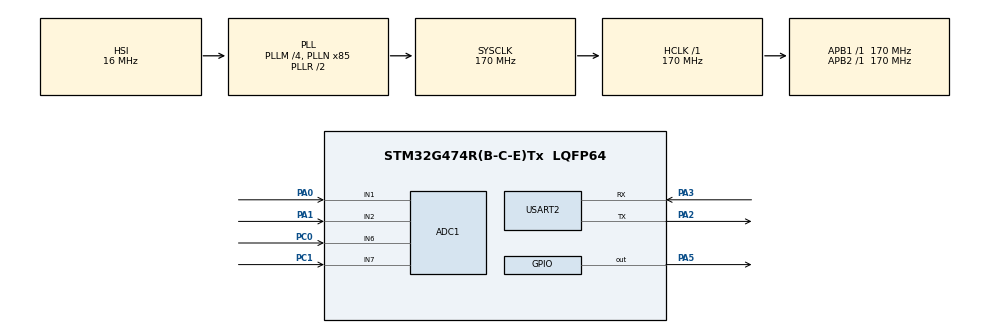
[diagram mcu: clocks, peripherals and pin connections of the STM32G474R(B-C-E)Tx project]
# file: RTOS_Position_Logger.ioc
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ADC1.Channel-0\#ChannelRegularConversion=ADC_CHANNEL_1
ADC1.Channel-1\#ChannelRegularConversion=ADC_CHANNEL_2
ADC1.Channel-2\#ChannelRegularConversion=ADC_CHANNEL_6
ADC1.Channel-3\#ChannelRegularConversion=ADC_CHANNEL_7
ADC1.ContinuousConvMode=DISABLE
ADC1.DMAContinuousRequests=ENABLE
ADC1.EOCSelection=ADC_EOC_SEQ_CONV
ADC1.ExternalTrigConv=ADC_EXTERNALTRIG_T6_TRGO
ADC1.NbrOfConversion=4
ADC1.NbrOfConversionFlag=1
ADC1.OffsetNumber-0\#ChannelRegularConversion=ADC_OFFSET_NONE
ADC1.OffsetNumber-1\#ChannelRegularConversion=ADC_OFFSET_NONE
ADC1.OffsetNumber-2\#ChannelRegularConversion=ADC_OFFSET_NONE
ADC1.OffsetNumber-3\#ChannelRegularConversion=ADC_OFFSET_NONE
ADC1.Rank-0\#ChannelRegularConversion=1
ADC1.Rank-1\#ChannelRegularConversion=2
ADC1.Rank-2\#ChannelRegularConversion=3
ADC1.Rank-3\#ChannelRegularConversion=4
ADC1.SamplingTime-0\#ChannelRegularConversion=ADC_SAMPLETIME_47CYCLES_5
ADC1.SamplingTime-1\#ChannelRegularConversion=ADC_SAMPLETIME_47CYCLES_5
ADC1.SamplingTime-2\#ChannelRegularConversion=ADC_SAMPLETIME_47CYCLES_5
ADC1.SamplingTime-3\#ChannelRegularConversion=ADC_SAMPLETIME_47CYCLES_5
ADC1.master=1
Dma.ADC1.0.Direction=DMA_PERIPH_TO_MEMORY
Dma.ADC1.0.EventEnable=DISABLE
Dma.ADC1.0.Instance=DMA1_Channel1
Dma.ADC1.0.MemDataAlignment=DMA_MDATAALIGN_HALFWORD
Dma.ADC1.0.MemInc=DMA_MINC_ENABLE
Dma.ADC1.0.Mode=DMA_CIRCULAR
Dma.ADC1.0.PeriphDataAlignment=DMA_PDATAALIGN_HALFWORD
Dma.ADC1.0.PeriphInc=DMA_PINC_DISABLE
Dma.ADC1.0.Polarity=HAL_DMAMUX_REQ_GEN_RISING
Dma.ADC1.0.Priority=DMA_PRIORITY_HIGH
Dma.ADC1.0.RequestNumber=1
Dma.ADC1.0.SignalID=NONE
Dma.ADC1.0.SyncEnable=DISABLE
Dma.ADC1.0.SyncPolarity=HAL_DMAMUX_SYNC_NO_EVENT
Dma.ADC1.0.SyncRequestNumber=1
Dma.ADC1.0.SyncSignalID=NONE
Dma.Request0=ADC1
FREERTOS.BinarySemaphores01=adcBinarySem,Dynamic,NULL,Depleted
FREERTOS.Mutexes01=uartMutex,Dynamic,NULL,Available
FREERTOS.Queues01=angleQueue,8,float,0,Dynamic,NULL,NULL
FREERTOS.Tasks01=ProcessingTask,24,768,StartProcessingTask,Default,NULL,Dynamic,NULL,NULL;LoggerTask,8,512,StartLoggerTask,Default,NULL,Dynamic,NULL,NULL;LEDTask,8,128,StartLEDTask,Default,NULL,Dynamic,NULL,NULL
FREERTOS.configTOTAL_HEAP_SIZE=16384
Mcu.Family=STM32G4
Mcu.Name=STM32G474R(B-C-E)Tx
Mcu.Package=LQFP64
NVIC.DMA1_Channel1_IRQn=true\:5\:0\:false\:false\:true\:true\:false\:true\:true
NVIC.PriorityGroup=NVIC_PRIORITYGROUP_4
NVIC.TIM4_IRQn=true\:15\:0\:false\:false\:true\:false\:false\:true\:true
NVIC.TimeBase=TIM4_IRQn
NVIC.TimeBaseIP=TIM4
NVIC.USART2_IRQn=true\:5\:0\:false\:false\:true\:true\:true\:true\:true
PA0.Mode=IN1-Single-Ended
PA0.Signal=ADC1_IN1
PA1.Mode=IN2-Single-Ended
PA1.Signal=ADC1_IN2
PA13.Mode=Serial_Wire
PA13.Signal=SYS_JTMS-SWDIO
PA14.Mode=Serial_Wire
PA14.Signal=SYS_JTCK-SWCLK
PA2.Mode=Asynchronous
PA2.Signal=USART2_TX
PA3.Mode=Asynchronous
PA3.Signal=USART2_RX
PA5.Signal=GPIO_Output
PC0.Mode=IN6-Single-Ended
PC0.Signal=ADC1_IN6
PC1.Mode=IN7-Single-Ended
PC1.Signal=ADC1_IN7
ProjectManager.HeapSize=0x200
ProjectManager.StackSize=0x400
ProjectManager.TargetToolchain=STM32CubeIDE
RCC.ADC12Freq_Value=170000000
RCC.ADC345Freq_Value=170000000
RCC.AHBFreq_Value=170000000
RCC.APB1Freq_Value=170000000
RCC.APB1TimFreq_Value=170000000
RCC.APB2Freq_Value=170000000
RCC.APB2TimFreq_Value=170000000
RCC.CortexFreq_Value=170000000
RCC.EXTERNAL_CLOCK_VALUE=12288000
RCC.HCLKFreq_Value=170000000
RCC.HSE_VALUE=24000000
RCC.HSI48_VALUE=48000000
RCC.HSI_VALUE=16000000
RCC.LSE_VALUE=32768
RCC.PLLM=RCC_PLLM_DIV4
RCC.PLLN=85
RCC.RTCClockSelection=RCC_RTCCLKSOURCE_LSE
RCC.SYSCLKFreq_VALUE=170000000
RCC.SYSCLKSource=RCC_SYSCLKSOURCE_PLLCLK
RCC.USBFreq_Value=170000000
RCC.VCOOutputFreq_Value=340000000
TIM6.PeriodNoDither=999
TIM6.Prescaler=169
TIM6.TIM_MasterOutputTrigger=TIM_TRGO_UPDATE
USART2.VirtualMode-Asynchronous=VM_ASYNC
VP_FREERTOS_VS_CMSIS_V2.Mode=CMSIS_V2
VP_SYS_VS_DBSignals.Mode=DisableDeadBatterySignals
VP_SYS_VS_tim4.Mode=TIM4
VP_TIM6_VS_ClockSourceINT.Mode=Enable_Timer
board=NUCLEO-G474RE

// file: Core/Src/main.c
/* USER CODE BEGIN Header */
/**
  ******************************************************************************
  * @file           : main.c
  * @brief          : Main program body
  ******************************************************************************
  * @attention
  *
  * Copyright (c) 2026 STMicroelectronics.
  * All rights reserved.
  *
  * This software is licensed under terms that can be found in the LICENSE file
  * in the root directory of this software component.
  * If no LICENSE file comes with this software, it is provided AS-IS.
  *
  ******************************************************************************
  */
/* USER CODE END Header */
#include "main.h"
#include "cmsis_os.h"

/* USER CODE BEGIN Includes */
#include "semphr.h"
#include <stdio.h>
#include <math.h>
#include <string.h>
/* USER CODE END Includes */

ADC_HandleTypeDef hadc1;
DMA_HandleTypeDef hdma_adc1;

TIM_HandleTypeDef htim6;

UART_HandleTypeDef huart2;

/* Definitions for ProcessingTask */
osThreadId_t ProcessingTaskHandle;
const osThreadAttr_t ProcessingTask_attributes = {
  .name = "ProcessingTask",
  .priority = (osPriority_t) osPriorityNormal,
  .stack_size = 768 * 4
};
/* Definitions for LoggerTask */
osThreadId_t LoggerTaskHandle;
const osThreadAttr_t LoggerTask_attributes = {
  .name = "LoggerTask",
  .priority = (osPriority_t) osPriorityLow,
  .stack_size = 512 * 4
};
/* Definitions for LEDTask */
osThreadId_t LEDTaskHandle;
const osThreadAttr_t LEDTask_attributes = {
  .name = "LEDTask",
  .priority = (osPriority_t) osPriorityLow,
  .stack_size = 128 * 4
};
/* Definitions for angleQueue */
osMessageQueueId_t angleQueueHandle;
const osMessageQueueAttr_t angleQueue_attributes = {
  .name = "angleQueue"
};
/* Definitions for uartMutex */
osMutexId_t uartMutexHandle;
const osMutexAttr_t uartMutex_attributes = {
  .name = "uartMutex"
};
/* Definitions for adcBinarySem */
osSemaphoreId_t adcBinarySemHandle;
const osSemaphoreAttr_t adcBinarySem_attributes = {
  .name = "adcBinarySem"
};
/* USER CODE BEGIN PV */
uint16_t adc_buffer[4];
char uart_buffer[100];
float filtered_angle = 0;
/* USER CODE END PV */

void SystemClock_Config(void);
static void MX_GPIO_Init(void);
static void MX_DMA_Init(void);
static void MX_ADC1_Init(void);
static void MX_TIM6_Init(void);
static void MX_USART2_UART_Init(void);
void StartProcessingTask(void *argument);
void StartLoggerTask(void *argument);
void StartLEDTask(void *argument);

/* USER CODE BEGIN 0 */
int __io_putchar(int ch)
{
    HAL_UART_Transmit(&huart2, (uint8_t *)&ch, 1, HAL_MAX_DELAY);
    return ch;
}
/* USER CODE END 0 */

int main(void)
{

  /* MCU Configuration--------------------------------------------------------*/

  /* Reset of all peripherals, Initializes the Flash interface and the Systick. */
  HAL_Init();

  /* Configure the system clock */
  SystemClock_Config();

  /* Initialize all configured peripherals */
  MX_GPIO_Init();
  MX_DMA_Init();
  MX_ADC1_Init();
  MX_TIM6_Init();
  MX_USART2_UART_Init();
  /* USER CODE BEGIN 2 */
  HAL_TIM_Base_Start(&htim6);

  HAL_ADC_Start_DMA(&hadc1, (uint32_t*)adc_buffer, 4);
  /* USER CODE END 2 */

  /* Init scheduler */
  osKernelInitialize();
  /* Create the mutex(es) */
  /* creation of uartMutex */
  uartMutexHandle = osMutexNew(&uartMutex_attributes);

  /* Create the semaphores(s) */
  /* creation of adcBinarySem */
  adcBinarySemHandle = osSemaphoreNew(1, 0, &adcBinarySem_attributes);

  /* Create the queue(s) */
  /* creation of angleQueue */
  angleQueueHandle = osMessageQueueNew (8, sizeof(float), &angleQueue_attributes);

  /* Create the thread(s) */
  /* creation of ProcessingTask */
  ProcessingTaskHandle = osThreadNew(StartProcessingTask, NULL, &ProcessingTask_attributes);

  /* creation of LoggerTask */
  LoggerTaskHandle = osThreadNew(StartLoggerTask, NULL, &LoggerTask_attributes);

  /* creation of LEDTask */
  LEDTaskHandle = osThreadNew(StartLEDTask, NULL, &LEDTask_attributes);

  /* Start scheduler */
  osKernelStart();

  /* We should never get here as control is now taken by the scheduler */

  /* Infinite loop */
  while (1)
  {

  }
}

void SystemClock_Config(void)
{
  RCC_OscInitTypeDef RCC_OscInitStruct = {0};
  RCC_ClkInitTypeDef RCC_ClkInitStruct = {0};

  /** Configure the main internal regulator output voltage
  */
  HAL_PWREx_ControlVoltageScaling(PWR_REGULATOR_VOLTAGE_SCALE1_BOOST);

  /** Initializes the RCC Oscillators according to the specified parameters
  * in the RCC_OscInitTypeDef structure.
  */
  RCC_OscInitStruct.OscillatorType = RCC_OSCILLATORTYPE_HSI;
  RCC_OscInitStruct.HSIState = RCC_HSI_ON;
  RCC_OscInitStruct.HSICalibrationValue = RCC_HSICALIBRATION_DEFAULT;
  RCC_OscInitStruct.PLL.PLLState = RCC_PLL_ON;
  RCC_OscInitStruct.PLL.PLLSource = RCC_PLLSOURCE_HSI;
  RCC_OscInitStruct.PLL.PLLM = RCC_PLLM_DIV4;
  RCC_OscInitStruct.PLL.PLLN = 85;
  RCC_OscInitStruct.PLL.PLLP = RCC_PLLP_DIV2;
  RCC_OscInitStruct.PLL.PLLQ = RCC_PLLQ_DIV2;
  RCC_OscInitStruct.PLL.PLLR = RCC_PLLR_DIV2;
  if (HAL_RCC_OscConfig(&RCC_OscInitStruct) != HAL_OK)
  {
    Error_Handler();
  }

  /** Initializes the CPU, AHB and APB buses clocks
  */
  RCC_ClkInitStruct.ClockType = RCC_CLOCKTYPE_HCLK|RCC_CLOCKTYPE_SYSCLK
                              |RCC_CLOCKTYPE_PCLK1|RCC_CLOCKTYPE_PCLK2;
  RCC_ClkInitStruct.SYSCLKSource = RCC_SYSCLKSOURCE_PLLCLK;
  RCC_ClkInitStruct.AHBCLKDivider = RCC_SYSCLK_DIV1;
  RCC_ClkInitStruct.APB1CLKDivider = RCC_HCLK_DIV1;
  RCC_ClkInitStruct.APB2CLKDivider = RCC_HCLK_DIV1;

  if (HAL_RCC_ClockConfig(&RCC_ClkInitStruct, FLASH_LATENCY_4) != HAL_OK)
  {
    Error_Handler();
  }
}

static void MX_ADC1_Init(void)
{

  ADC_MultiModeTypeDef multimode = {0};
  ADC_ChannelConfTypeDef sConfig = {0};

  /** Common config
  */
  hadc1.Instance = ADC1;
  hadc1.Init.ClockPrescaler = ADC_CLOCK_SYNC_PCLK_DIV4;
  hadc1.Init.Resolution = ADC_RESOLUTION_12B;
  hadc1.Init.DataAlign = ADC_DATAALIGN_RIGHT;
  hadc1.Init.GainCompensation = 0;
  hadc1.Init.ScanConvMode = ADC_SCAN_ENABLE;
  hadc1.Init.EOCSelection = ADC_EOC_SEQ_CONV;
  hadc1.Init.LowPowerAutoWait = DISABLE;
  hadc1.Init.ContinuousConvMode = DISABLE;
  hadc1.Init.NbrOfConversion = 4;
  hadc1.Init.DiscontinuousConvMode = DISABLE;
  hadc1.Init.ExternalTrigConv = ADC_EXTERNALTRIG_T6_TRGO;
  hadc1.Init.ExternalTrigConvEdge = ADC_EXTERNALTRIGCONVEDGE_RISING;
  hadc1.Init.DMAContinuousRequests = ENABLE;
  hadc1.Init.Overrun = ADC_OVR_DATA_PRESERVED;
  hadc1.Init.OversamplingMode = DISABLE;
  if (HAL_ADC_Init(&hadc1) != HAL_OK)
  {
    Error_Handler();
  }

  /** Configure the ADC multi-mode
  */
  multimode.Mode = ADC_MODE_INDEPENDENT;
  if (HAL_ADCEx_MultiModeConfigChannel(&hadc1, &multimode) != HAL_OK)
  {
    Error_Handler();
  }

  /** Configure Regular Channel
  */
  sConfig.Channel = ADC_CHANNEL_1;
  sConfig.Rank = ADC_REGULAR_RANK_1;
  sConfig.SamplingTime = ADC_SAMPLETIME_47CYCLES_5;
  sConfig.SingleDiff = ADC_SINGLE_ENDED;
  sConfig.OffsetNumber = ADC_OFFSET_NONE;
  sConfig.Offset = 0;
  if (HAL_ADC_ConfigChannel(&hadc1, &sConfig) != HAL_OK)
  {
    Error_Handler();
  }

  /** Configure Regular Channel
  */
  sConfig.Channel = ADC_CHANNEL_2;
  sConfig.Rank = ADC_REGULAR_RANK_2;
  if (HAL_ADC_ConfigChannel(&hadc1, &sConfig) != HAL_OK)
  {
    Error_Handler();
  }

  /** Configure Regular Channel
  */
  sConfig.Channel = ADC_CHANNEL_6;
  sConfig.Rank = ADC_REGULAR_RANK_3;
  if (HAL_ADC_ConfigChannel(&hadc1, &sConfig) != HAL_OK)
  {
    Error_Handler();
  }

  /** Configure Regular Channel
  */
  sConfig.Channel = ADC_CHANNEL_7;
  sConfig.Rank = ADC_REGULAR_RANK_4;
  if (HAL_ADC_ConfigChannel(&hadc1, &sConfig) != HAL_OK)
  {
    Error_Handler();
  }

}

static void MX_TIM6_Init(void)
{

  TIM_MasterConfigTypeDef sMasterConfig = {0};

  htim6.Instance = TIM6;
  htim6.Init.Prescaler = 169;
  htim6.Init.CounterMode = TIM_COUNTERMODE_UP;
  htim6.Init.Period = 999;
  htim6.Init.AutoReloadPreload = TIM_AUTORELOAD_PRELOAD_DISABLE;
  if (HAL_TIM_Base_Init(&htim6) != HAL_OK)
  {
    Error_Handler();
  }
  sMasterConfig.MasterOutputTrigger = TIM_TRGO_UPDATE;
  sMasterConfig.MasterSlaveMode = TIM_MASTERSLAVEMODE_DISABLE;
  if (HAL_TIMEx_MasterConfigSynchronization(&htim6, &sMasterConfig) != HAL_OK)
  {
    Error_Handler();
  }

}

static void MX_USART2_UART_Init(void)
{

  huart2.Instance = USART2;
  huart2.Init.BaudRate = 115200;
  huart2.Init.WordLength = UART_WORDLENGTH_8B;
  huart2.Init.StopBits = UART_STOPBITS_1;
  huart2.Init.Parity = UART_PARITY_NONE;
  huart2.Init.Mode = UART_MODE_TX_RX;
  huart2.Init.HwFlowCtl = UART_HWCONTROL_NONE;
  huart2.Init.OverSampling = UART_OVERSAMPLING_16;
  huart2.Init.OneBitSampling = UART_ONE_BIT_SAMPLE_DISABLE;
  huart2.Init.ClockPrescaler = UART_PRESCALER_DIV1;
  huart2.AdvancedInit.AdvFeatureInit = UART_ADVFEATURE_NO_INIT;
  if (HAL_UART_Init(&huart2) != HAL_OK)
  {
    Error_Handler();
  }
  if (HAL_UARTEx_SetTxFifoThreshold(&huart2, UART_TXFIFO_THRESHOLD_1_8) != HAL_OK)
  {
    Error_Handler();
  }
  if (HAL_UARTEx_SetRxFifoThreshold(&huart2, UART_RXFIFO_THRESHOLD_1_8) != HAL_OK)
  {
    Error_Handler();
  }
  if (HAL_UARTEx_DisableFifoMode(&huart2) != HAL_OK)
  {
    Error_Handler();
  }

}

static void MX_DMA_Init(void)
{

  /* DMA controller clock enable */
  __HAL_RCC_DMAMUX1_CLK_ENABLE();
  __HAL_RCC_DMA1_CLK_ENABLE();

  /* DMA interrupt init */
  /* DMA1_Channel1_IRQn interrupt configuration */
  HAL_NVIC_SetPriority(DMA1_Channel1_IRQn, 5, 0);
  HAL_NVIC_EnableIRQ(DMA1_Channel1_IRQn);

}

static void MX_GPIO_Init(void)
{
  GPIO_InitTypeDef GPIO_InitStruct = {0};

  /* GPIO Ports Clock Enable */
  __HAL_RCC_GPIOC_CLK_ENABLE();
  __HAL_RCC_GPIOA_CLK_ENABLE();

  /*Configure GPIO pin Output Level */
  HAL_GPIO_WritePin(GPIOA, GPIO_PIN_5, GPIO_PIN_RESET);

  /*Configure GPIO pin : PA5 */
  GPIO_InitStruct.Pin = GPIO_PIN_5;
  GPIO_InitStruct.Mode = GPIO_MODE_OUTPUT_PP;
  GPIO_InitStruct.Pull = GPIO_NOPULL;
  GPIO_InitStruct.Speed = GPIO_SPEED_FREQ_LOW;
  HAL_GPIO_Init(GPIOA, &GPIO_InitStruct);

}

/* USER CODE BEGIN 4 */
void HAL_ADC_ConvCpltCallback(ADC_HandleTypeDef *hadc)
{
    if(hadc->Instance == ADC1)
    {
        osSemaphoreRelease(adcBinarySemHandle);
    }
}
/* USER CODE END 4 */

void StartProcessingTask(void *argument)
{
  /* USER CODE BEGIN 5 */
    float sin_diff;
    float cos_diff;

    float angle_rad;
    float electrical_angle;

    float mechanical_angle;

    static float previous_angle = 0;

    static uint8_t cycle_count = 0;

  /* Infinite loop */
  for(;;)
  {
      osSemaphoreAcquire(adcBinarySemHandle, osWaitForever);

      /* Differential signals */
      sin_diff = (float)((int16_t)adc_buffer[0] - (int16_t)adc_buffer[1]);

      cos_diff = (float)((int16_t)adc_buffer[2] - (int16_t)adc_buffer[3]);

      /* Electrical angle */
      angle_rad = atan2f(sin_diff, cos_diff);

      electrical_angle = angle_rad * 180.0f / M_PI;

      if(electrical_angle < 0.0f)
      {
          electrical_angle += 360.0f;
      }

      /* Detect forward wrap */
      if((previous_angle > 300.0f) && (electrical_angle < 60.0f))
      {
          cycle_count++;

          if(cycle_count >= 4)
          {
              cycle_count = 0;
          }
      }

      /* Detect backward wrap */
      if((previous_angle < 60.0f) && (electrical_angle > 300.0f))
      {
          if(cycle_count == 0)
          {
              cycle_count = 3;
          }
          else
          {
              cycle_count--;
          }
      }

      previous_angle = electrical_angle;

      /* Convert to full mechanical angle */
      mechanical_angle = electrical_angle + (cycle_count * 360.0f);

      /* Scale to 0-360 mechanical */
      mechanical_angle = mechanical_angle / 4.0f;

      /* Wrap final angle */
      if(mechanical_angle >= 360.0f)
      {
          mechanical_angle -= 360.0f;
      }

      /* Low-pass filter */
      filtered_angle = (0.9f * filtered_angle) + (0.1f * mechanical_angle);

      osMessageQueuePut(angleQueueHandle,
                        &filtered_angle,
                        0,
                        0);
  }
  /* USER CODE END 5 */
}

void StartLoggerTask(void *argument)
{
  /* USER CODE BEGIN StartLoggerTask */
	float received_angle;
  /* Infinite loop */
  for(;;)
  {
	  if(osMessageQueueGet(angleQueueHandle, &received_angle, NULL, osWaitForever) == osOK)
	      {
	          osMutexAcquire(uartMutexHandle, osWaitForever);

	          sprintf(uart_buffer, "Angle = %.2f\r\n", received_angle);

	          HAL_UART_Transmit(&huart2,
	                            (uint8_t*)uart_buffer,
	                            strlen(uart_buffer),
	                            HAL_MAX_DELAY);

	          osMutexRelease(uartMutexHandle);
	      }
  }
  /* USER CODE END StartLoggerTask */
}

void StartLEDTask(void *argument)
{
  /* USER CODE BEGIN StartLEDTask */
  /* Infinite loop */
  for(;;)
  {
	    HAL_GPIO_TogglePin(GPIOA, GPIO_PIN_5);

	    osDelay(500);
  }
  /* USER CODE END StartLEDTask */
}

void HAL_TIM_PeriodElapsedCallback(TIM_HandleTypeDef *htim)
{
  if (htim->Instance == TIM4)
  {
    HAL_IncTick();
  }
}

void Error_Handler(void)
{
  __disable_irq();
  while (1)
  {
  }
}
